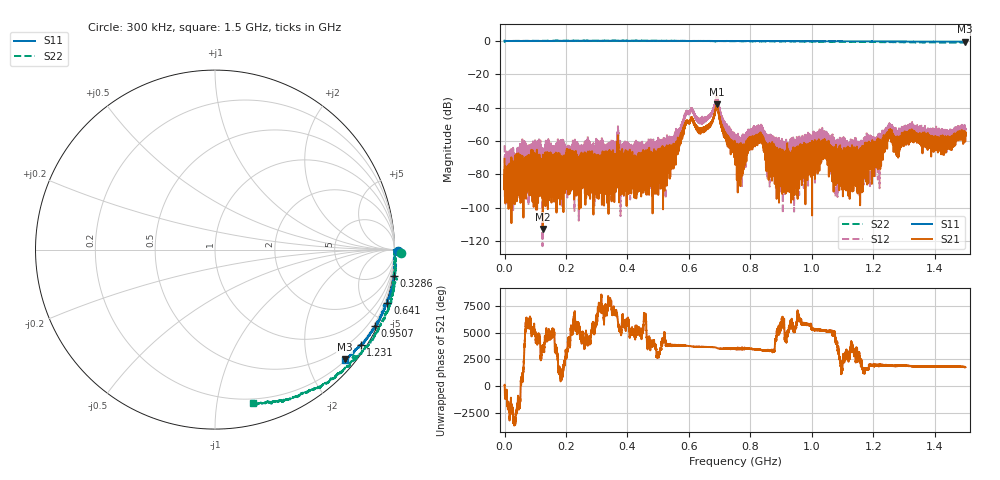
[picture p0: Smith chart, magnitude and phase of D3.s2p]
!Agilent Technologies,N5230C,SG49000117,A.08.50.07
!Agilent N5230C: A.08.50.07
!Date: Thursday, December 07, 2023 06:04:44
!Correction: S11(Full 2 Port(1,2))
!S21(Full 2 Port(1,2))
!S12(Full 2 Port(1,2))
!S22(Full 2 Port(1,2))
!S2P File: Measurements: S11, S21, S12, S22:
# Hz S  RI  R 50
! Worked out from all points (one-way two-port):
!   20001 points, 300 kHz to 1.5 GHz, reference 50 ohm
!   highest |S21| = -37.98 dB at 691.2 MHz (marker M1); lowest = -112.8 dB at 124.6 MHz (marker M2)
!   lowest |S11| = -0.5 dB at 1.497 GHz (marker M3), VSWR 36.32, Z = 11.6 - j136 ohm
!   |S11| at or under -10 dB: nowhere
!   |S22| runs from -1.1 to 0.3 dB; largest |S21 - S12| = 0.012
!   S11 on the Smith chart (normalised r, x): 300 kHz: -81, -29; 328.6 MHz: -1, -14; 641 MHz: -0.11, -6.66; 950.7 MHz: 0.12, -4.43; 1.231 GHz: 0.18, -3.34; 1.5 GHz: 0.22, -2.71
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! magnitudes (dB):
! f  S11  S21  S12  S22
! 300 kHz  0.2  -70.7  -62.5  0.3
! 8.173 MHz  0.0  -78.8  -82.9  0.0
! 124.6 MHz  0.0  -112.8  -65.2  0.1
! 250.3 MHz  0.1  -70.0  -67.5  0.2
! 328.6 MHz  0.1  -75.0  -66.9  0.2
! 500.2 MHz  0.1  -71.2  -63.2  0.1
! 550.5 MHz  0.1  -66.7  -65.6  0.1
! 594.4 MHz  0.0  -48.2  -43.2  0.0
! 641 MHz  0.0  -54.5  -48.3  0.0
! 691.2 MHz  -0.1  -38.0  -33.0  -0.3
! 750.1 MHz  0.0  -65.0  -57.5  -0.1
! 776.6 MHz  0.0  -66.8  -64.4  -0.1
! 831.1 MHz  0.0  -58.9  -54.4  -0.2
! 888.6 MHz  -0.1  -69.4  -70.0  -0.3
! 950.7 MHz  -0.1  -75.6  -73.5  -0.3
! 1 GHz  -0.1  -64.7  -63.9  -0.4
! 1.041 GHz  -0.1  -61.9  -60.3  -0.4
! 1.119 GHz  -0.2  -92.9  -74.7  -0.6
! 1.231 GHz  -0.3  -63.5  -60.3  -0.7
! 1.25 GHz  -0.3  -54.5  -54.9  -0.7
! 1.497 GHz  -0.5  -55.0  -52.1  -1.0
! 1.5 GHz  -0.5  -56.9  -53.4  -1.1
